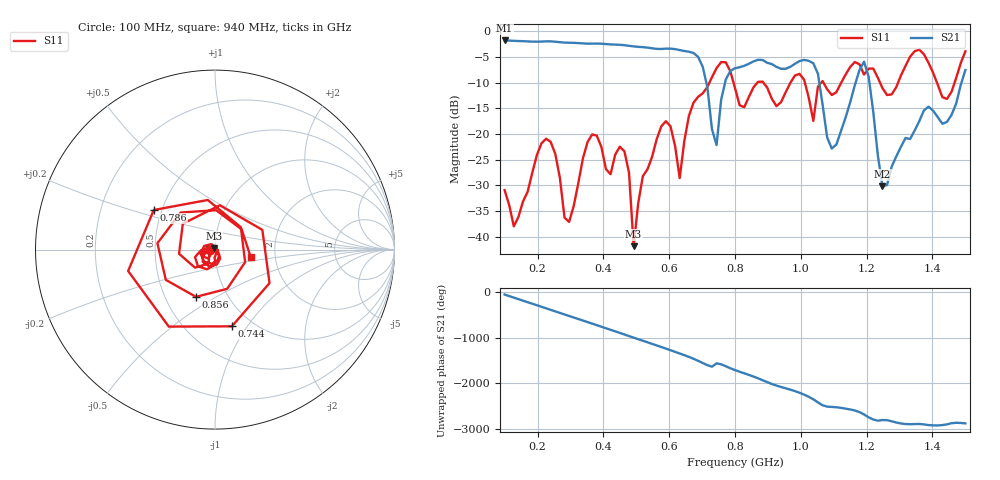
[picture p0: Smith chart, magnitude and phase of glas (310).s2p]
! NanoVNA-App
! Date: 2025-09-25 15:57:53
! Start: 100MHz Stop: 1,5GHz Points: 101
! S-Parameter data: F S11 S21 S12 S22
# Hz S RI R 50
!  Frequency  S11_Real  S11_Imag  S21_Real  S21_Imag  S12_Real  S12_Imag  S22_Real  S22_Imag
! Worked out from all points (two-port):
!   101 points, 100 MHz to 1.5 GHz, reference 50 ohm
!   highest |S21| = -1.80 dB at 100 MHz (marker M1); lowest = -30.2 dB at 1.248 GHz (marker M2)
!   |S21| within 3 dB of the highest: start of sweep to 684.2 MHz
!   lowest |S11| = -41.8 dB at 492 MHz (marker M3), VSWR 1.02, Z = 49.5 + j0.639 ohm
!   |S11| at or under -10 dB: start of sweep to 722.4 MHz; 795.4 MHz to 868.1 MHz (72.69 MHz wide, 8.74 % of centre); 886.1 MHz to 968.7 MHz (82.63 MHz wide, 8.91 % of centre) (the widest 3 of 7)
!   S12 and S22 are empty: the file has one direction only
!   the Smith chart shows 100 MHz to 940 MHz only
!   S11 on the Smith chart (normalised r, x): 100 MHz: 0.95, -0.01; 744 MHz: 0.81, -0.85; 786 MHz: 0.45, +0.24; 856 MHz: 0.71, -0.41; 940 MHz: 1.49, -0.14
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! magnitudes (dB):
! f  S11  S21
! 100 MHz  -30.9  -1.8
! 128 MHz  -38.0  -1.9
! 226 MHz  -20.9  -2.0
! 296 MHz  -37.1  -2.2
! 338 MHz  -24.7  -2.4
! 464 MHz  -23.4  -2.7
! 492 MHz  -41.8  -3.0
! 576 MHz  -18.5  -3.5
! 632 MHz  -28.6  -3.7
! 702 MHz  -12.1  -6.9
! 744 MHz  -7.2  -22.2
! 786 MHz  -7.8  -7.7
! 800 MHz  -11.1  -7.2
! 856 MHz  -10.9  -5.9
! 940 MHz  -13.8  -7.3
! 996 MHz  -8.3  -5.8
! 1.038 GHz  -17.5  -6.2
! 1.094 GHz  -12.4  -22.8
! 1.192 GHz  -8.4  -5.9
! 1.248 GHz  -11.1  -30.2
! 1.276 GHz  -12.3  -26.4
! 1.5 GHz  -3.9  -7.6
